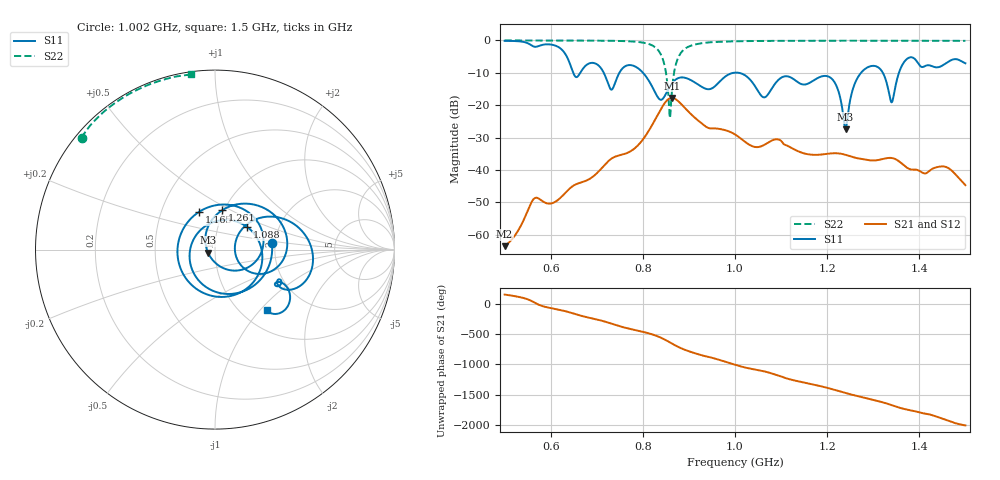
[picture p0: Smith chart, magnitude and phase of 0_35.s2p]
! TOUCHSTONE file generated by CST MICROWAVE STUDIO
! Date and time: Sat Oct 24 10:47:33 2020
! Project name: Scenario_1_Planar_Body_Tissue_Center.cst
! Parameters = {hfat=3; hmuscle=50; hskin=1.5; hgap=25; Wtissue=700; Ltissue=700; L_HA=400; MT=2.54; Rad_Dielectric=30; Rad_Lower=7.3; Rad_Upper=30; a_HA=580; a_WG=246; b_HA=500; b_WG=121; c_HA=0; c_WG=187; d_feed=85; dx1=761.88; h_feed=15; h_lower=18; h_upper=40}
! Header version: 2018
! Port assignment regex: !\s*Touchstone port\s*([0-9]+)\s*=\s*(CST MWS port|CST DS port)\s*([0-9]+|Zmin|Zmax)\s*\(\"(.*)\"\)(\s*mode\s*([0-9]+))?.*
! Touchstone port assignment:
! Touchstone port 1 = CST MWS port 1 ("")
! Touchstone port 2 = CST MWS port 2 ("")
# GHz S DB R 50
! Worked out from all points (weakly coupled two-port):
!   1003 points, 500 MHz to 1.5 GHz, reference 50 ohm
!   highest |S21| = -17.73 dB at 863 MHz (marker M1); lowest = -63.5 dB at 500 MHz (marker M2)
!   lowest |S11| = -27.5 dB at 1.24 GHz (marker M3), VSWR 1.09, Z = 46.2 - j1.53 ohm
!   |S11| at or under -10 dB: 800.4 MHz to 996.9 MHz (196.5 MHz wide, 21.9 % of centre); 1.008 GHz to 1.273 GHz (265.3 MHz wide, 23.3 % of centre); 1.321 GHz to 1.356 GHz (34.9 MHz wide, 2.61 % of centre) (the widest 3 of 5)
!   |S22| runs from -24.0 to 0.0 dB; largest |S21 - S12| = 0.00017
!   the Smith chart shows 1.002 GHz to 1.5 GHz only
!   S11 on the Smith chart (normalised r, x): 1.002 GHz: 1.92, +0.16; 1.088 GHz: 1.38, +0.36; 1.165 GHz: 0.77, +0.34; 1.261 GHz: 0.98, +0.46; 1.5 GHz: 1.30, -1.09
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0.5  -0.12 -121.5  -63.53 152.7  -63.53 152.7  -0.01 151.1
0.629  -3.62 149.6  -47.47 -115.8  -47.47 -115.8  -0.03 141.8
0.667  -9.36 168.7  -43.81 160.7  -43.81 160.7  -0.04 138.4
0.707  -8.18 102.2  -40.01 89.0  -40.01 89.0  -0.07 134.0
0.745  -11.19 -120.0  -35.64 -0.2  -35.64 -0.2  -0.15 128.4
0.791  -8.74 100.7  -32.15 -85.5  -32.15 -85.5  -0.49 116.7
0.834  -17.84 -48.9  -22.53 178.0  -22.53 178.0  -3.15 85.2
0.863  -13.30 152.5  -17.73 64.2  -17.73 64.2  -15.63 -124.0
0.89  -11.49 51.6  -20.66 -35.0  -20.66 -35.0  -2.72 176.8
0.956  -14.21 166.9  -27.16 177.5  -27.17 177.5  -0.49 147.7
1  -9.95 12.3  -29.03 75.1  -29.03 75.1  -0.27 140.3
1.002  -9.93 6.7  -29.21 70.5  -29.21 70.5  -0.27 140.1
1.088  -13.17 34.8  -30.55 -89.7  -30.54 -89.8  -0.13 130.8
1.123  -11.57 -86.1  -33.22 -173.1  -33.21 -173.1  -0.11 127.7
1.165  -12.84 113.1  -35.27 116.5  -35.27 116.5  -0.10 124.3
1.167  -12.67 106.7  -35.30 113.3  -35.30 113.3  -0.10 124.2
1.213  -12.29 -12.6  -34.84 27.6  -34.84 27.6  -0.09 120.7
1.24  -27.46 -157.1  -35.32 -31.2  -35.32 -31.2  -0.08 118.6
1.261  -12.99 79.3  -36.23 -72.9  -36.23 -72.9  -0.08 117.0
1.334  -16.11 -29.3  -36.27 143.9  -36.27 143.9  -0.08 111.5
1.378  -5.30 -1.7  -39.67 47.7  -39.67 47.7  -0.09 108.1
1.5  -7.06 -49.2  -44.69 153.5  -44.69 153.5  -0.13 98.0
